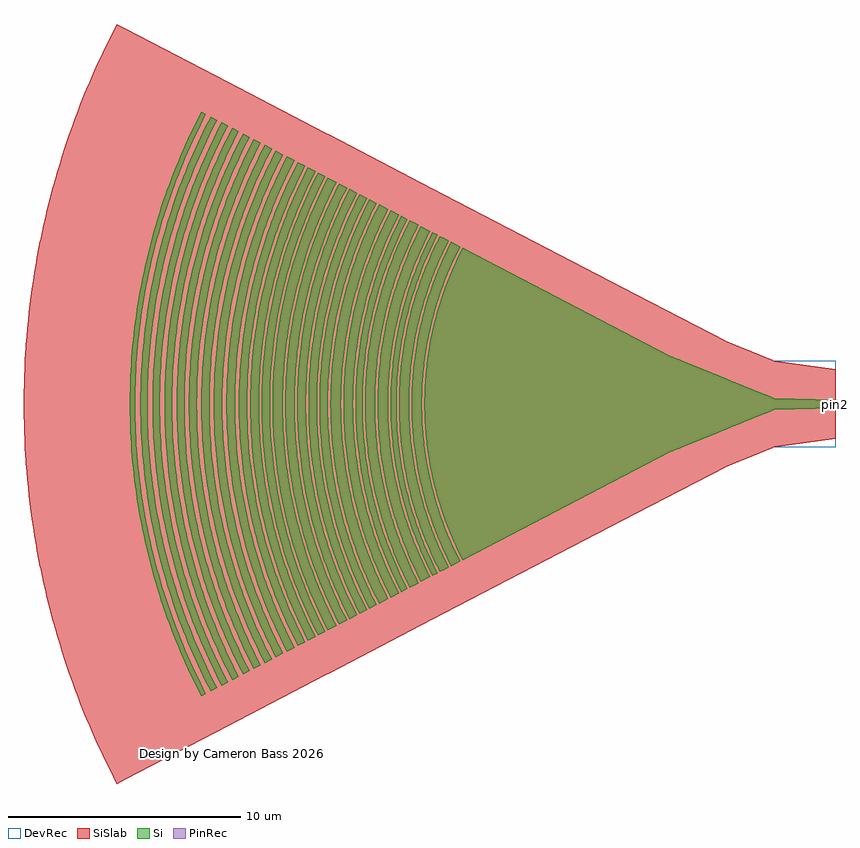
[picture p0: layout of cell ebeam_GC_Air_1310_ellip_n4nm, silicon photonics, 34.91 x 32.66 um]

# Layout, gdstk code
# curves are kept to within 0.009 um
import gdstk
lib = gdstk.Library(unit=1e-6, precision=1e-09)
def P(c, l, *ps):  # polygons
    for p in ps: c.add(gdstk.Polygon(p, *l))
Si = (1, 0)
PinRec = (1, 10)
SiSlab = (2, 0)
DevRec = (68, 0)

ebeam_gc_air_1310_ellip_ = lib.new_cell('ebeam_GC_Air_1310_ellip_n4nm')
P(ebeam_gc_air_1310_ellip_, Si, [(-16.046,-6.71),(-16.406,-5.967),(-16.78,-5.052),(-17.009,-4.383),(-17.274,-3.43),(-17.45,-2.6),(-17.577,-1.762),(-17.655,-0.918),(-17.683,-0.071),(-17.655,0.918),(-17.577,1.762),(-17.45,2.601),(-17.274,3.43),(-17.009,4.383),(-16.78,5.052),(-16.406,5.967),(-16.046,6.71),(-7.153,2.079),(-3.187,0.46),(-2.893,0.352),(-2.693,0.258),(-2.65,0.246),(0,0.175),(0,-0.175),(-2.678,-0.253),(-2.862,-0.339),(-3.202,-0.466),(-7.125,-2.066)],
  [(-16.538,-6.965),(-16.909,-6.197),(-17.246,-5.384),(-17.535,-4.552),(-17.775,-3.705),(-17.966,-2.845),(-18.106,-1.975),(-18.205,-0.954),(-18.235,-0.073),(-18.214,0.807),(-18.124,1.831),(-17.993,2.701),(-17.81,3.562),(-17.701,3.989),(-17.535,4.552),(-17.246,5.384),(-16.909,6.197),(-16.538,6.966),(-16.143,6.76),(-16.505,6.012),(-16.882,5.089),(-17.154,4.28),(-17.379,3.456),(-17.556,2.621),(-17.684,1.775),(-17.771,0.783),(-17.791,0.071),(-17.771,-0.783),(-17.684,-1.775),(-17.556,-2.62),(-17.379,-3.456),(-17.154,-4.28),(-16.882,-5.089),(-16.505,-6.012),(-16.143,-6.76)],
  [(-17.019,-7.216),(-17.403,-6.421),(-17.752,-5.579),(-18.051,-4.717),(-18.3,-3.839),(-18.525,-2.798),(-18.661,-1.897),(-18.745,-0.988),(-18.776,-0.076),(-18.754,0.836),(-18.679,1.746),(-18.622,2.198),(-18.525,2.798),(-18.336,3.691),(-18.182,4.28),(-18.051,4.717),(-17.752,5.579),(-17.403,6.421),(-17.019,7.216),(-16.634,7.016),(-17.068,6.107),(-17.399,5.284),(-17.682,4.443),(-17.916,3.588),(-18.099,2.721),(-18.232,1.843),(-18.313,0.96),(-18.343,0.074),(-18.322,-0.812),(-18.232,-1.843),(-18.099,-2.721),(-17.916,-3.588),(-17.682,-4.443),(-17.399,-5.284),(-17.068,-6.107),(-16.634,-7.016)],
  [(-17.339,-7.383),(-17.732,-6.569),(-18.089,-5.708),(-18.395,-4.826),(-18.65,-3.928),(-18.852,-3.016),(-18.933,-2.556),(-19.02,-1.94),(-19.106,-1.011),(-19.137,-0.078),(-19.115,0.856),(-19.038,1.786),(-18.907,2.71),(-18.822,3.169),(-18.687,3.777),(-18.441,4.677),(-18.144,5.562),(-17.976,5.997),(-17.732,6.57),(-17.339,7.383),(-17.116,7.266),(-17.564,6.326),(-17.959,5.33),(-18.108,4.895),(-18.286,4.309),(-18.405,3.866),(-18.543,3.269),(-18.707,2.365),(-18.803,1.605),(-18.862,0.842),(-18.884,0.077),(-18.862,-0.842),(-18.803,-1.605),(-18.707,-2.365),(-18.543,-3.269),(-18.405,-3.865),(-18.286,-4.309),(-18.108,-4.895),(-17.959,-5.329),(-17.564,-6.326),(-17.116,-7.266)],
  [(-17.835,-7.641),(-18.306,-6.652),(-18.667,-5.757),(-18.975,-4.841),(-19.229,-3.909),(-19.429,-2.963),(-19.573,-2.009),(-19.662,-1.046),(-19.695,-0.08),(-19.671,0.886),(-19.592,1.849),(-19.457,2.805),(-19.336,3.438),(-19.229,3.909),(-18.975,4.841),(-18.667,5.757),(-18.493,6.207),(-18.241,6.8),(-17.835,7.641),(-17.436,7.433),(-17.895,6.472),(-18.19,5.746),(-18.499,4.858),(-18.755,3.955),(-18.987,2.883),(-19.127,1.953),(-19.191,1.33),(-19.223,0.861),(-19.245,0.078),(-19.223,-0.861),(-19.191,-1.33),(-19.127,-1.953),(-18.987,-2.883),(-18.792,-3.802),(-18.545,-4.709),(-18.245,-5.599),(-17.895,-6.472),(-17.436,-7.433)],
  [(-18.315,-7.891),(-18.735,-7.021),(-18.995,-6.409),(-19.174,-5.945),(-19.493,-4.999),(-19.755,-4.036),(-19.961,-3.06),(-20.111,-2.073),(-20.202,-1.081),(-20.236,-0.083),(-20.212,0.915),(-20.13,1.909),(-19.99,2.896),(-19.794,3.875),(-19.631,4.52),(-19.493,4.999),(-19.174,5.945),(-18.995,6.409),(-18.735,7.022),(-18.315,7.891),(-17.933,7.692),(-18.342,6.845),(-18.534,6.399),(-18.77,5.794),(-19.08,4.873),(-19.336,3.935),(-19.537,2.983),(-19.682,2.021),(-19.772,1.053),(-19.805,0.081),(-19.781,-0.891),(-19.701,-1.86),(-19.565,-2.824),(-19.476,-3.302),(-19.336,-3.934),(-19.08,-4.872),(-18.77,-5.794),(-18.534,-6.398),(-18.342,-6.845),(-17.933,-7.692)],
  [(-18.677,-8.079),(-19.107,-7.188),(-19.498,-6.245),(-19.833,-5.28),(-20.025,-4.627),(-20.152,-4.132),(-20.363,-3.133),(-20.516,-2.123),(-20.61,-1.106),(-20.644,-0.085),(-20.62,0.936),(-20.536,1.955),(-20.393,2.965),(-20.265,3.634),(-20.152,4.132),(-20.025,4.627),(-19.833,5.28),(-19.498,6.245),(-19.107,7.188),(-18.677,8.079),(-18.412,7.942),(-18.695,7.371),(-18.902,6.914),(-19.158,6.295),(-19.334,5.825),(-19.497,5.35),(-19.691,4.71),(-19.821,4.225),(-19.972,3.573),(-20.151,2.585),(-20.256,1.754),(-20.321,0.92),(-20.345,0.084),(-20.321,-0.92),(-20.256,-1.754),(-20.151,-2.585),(-20.006,-3.409),(-19.9,-3.899),(-19.736,-4.548),(-19.548,-5.19),(-19.39,-5.667),(-18.969,-6.76),(-18.695,-7.371),(-18.412,-7.941)],
  [(-19.135,-8.318),(-19.578,-7.401),(-19.853,-6.755),(-20.042,-6.266),(-20.377,-5.269),(-20.654,-4.254),(-20.871,-3.225),(-21.029,-2.185),(-21.125,-1.139),(-21.161,-0.088),(-21.151,0.614),(-21.125,1.139),(-21.029,2.185),(-20.871,3.225),(-20.654,4.254),(-20.377,5.269),(-20.042,6.266),(-19.649,7.241),(-19.432,7.719),(-19.135,8.318),(-18.775,8.13),(-19.208,7.234),(-19.411,6.762),(-19.66,6.123),(-19.988,5.149),(-20.259,4.158),(-20.471,3.153),(-20.625,2.136),(-20.719,1.113),(-20.754,0.086),(-20.729,-0.942),(-20.645,-1.966),(-20.501,-2.984),(-20.407,-3.489),(-20.259,-4.158),(-19.988,-5.149),(-19.66,-6.123),(-19.277,-7.077),(-19.065,-7.545),(-18.775,-8.13)],
  [(-19.634,-8.578),(-20.089,-7.634),(-20.504,-6.633),(-20.859,-5.608),(-21.155,-4.564),(-21.389,-3.505),(-21.562,-2.434),(-21.672,-1.355),(-21.703,-0.814),(-21.721,-0.09),(-21.695,0.994),(-21.605,2.076),(-21.454,3.149),(-21.318,3.859),(-21.198,4.389),(-20.913,5.435),(-20.689,6.123),(-20.504,6.633),(-20.089,7.634),(-19.634,8.578),(-19.233,8.369),(-19.531,7.767),(-19.75,7.285),(-20.083,6.468),(-20.263,5.971),(-20.482,5.301),(-20.718,4.451),(-20.946,3.419),(-21.115,2.375),(-21.193,1.673),(-21.234,1.145),(-21.27,0.088),(-21.265,-0.441),(-21.234,-1.145),(-21.137,-2.198),(-20.979,-3.245),(-20.76,-4.28),(-20.482,-5.3),(-20.263,-5.971),(-20.083,-6.468),(-19.75,-7.285),(-19.531,-7.766),(-19.233,-8.369)],
  [(-20.049,-8.794),(-20.517,-7.824),(-20.942,-6.798),(-21.307,-5.747),(-21.61,-4.677),(-21.85,-3.592),(-22.027,-2.494),(-22.14,-1.389),(-22.172,-0.834),(-22.19,-0.093),(-22.163,1.019),(-22.072,2.127),(-22.002,2.678),(-21.884,3.41),(-21.654,4.498),(-21.466,5.215),(-21.307,5.747),(-20.942,6.798),(-20.517,7.824),(-20.049,8.794),(-19.735,8.63),(-19.963,8.174),(-20.267,7.514),(-20.545,6.841),(-20.736,6.33),(-20.968,5.641),(-21.173,4.943),(-21.35,4.238),(-21.466,3.704),(-21.623,2.809),(-21.737,1.906),(-21.808,1),(-21.834,0.091),(-21.824,-0.636),(-21.755,-1.725),(-21.65,-2.629),(-21.466,-3.704),(-21.35,-4.237),(-21.173,-4.943),(-20.968,-5.64),(-20.736,-6.33),(-20.545,-6.84),(-20.267,-7.513),(-19.963,-8.174),(-19.735,-8.63)],
  [(-20.469,-9.013),(-20.95,-8.017),(-21.386,-6.965),(-21.759,-5.889),(-22.07,-4.793),(-22.201,-4.238),(-22.351,-3.494),(-22.521,-2.367),(-22.626,-1.234),(-22.665,-0.095),(-22.637,1.044),(-22.543,2.18),(-22.384,3.307),(-22.28,3.867),(-22.115,4.609),(-21.923,5.343),(-21.759,5.889),(-21.386,6.965),(-20.95,8.017),(-20.469,9.013),(-20.147,8.845),(-20.462,8.208),(-20.767,7.528),(-21.045,6.836),(-21.236,6.31),(-21.411,5.78),(-21.621,5.065),(-21.804,4.342),(-21.922,3.796),(-22.083,2.878),(-22.2,1.953),(-22.272,1.024),(-22.299,0.093),(-22.281,-0.838),(-22.218,-1.768),(-22.11,-2.694),(-21.922,-3.796),(-21.804,-4.342),(-21.621,-5.065),(-21.411,-5.78),(-21.236,-6.31),(-21.045,-6.835),(-20.767,-7.528),(-20.462,-8.208),(-20.147,-8.845)],
  [(-20.904,-9.239),(-21.398,-8.215),(-21.844,-7.138),(-22.227,-6.035),(-22.546,-4.912),(-22.68,-4.343),(-22.834,-3.58),(-23.009,-2.426),(-23.116,-1.264),(-23.155,-0.097),(-23.15,0.487),(-23.116,1.264),(-23.009,2.426),(-22.834,3.581),(-22.592,4.723),(-22.285,5.849),(-21.913,6.956),(-21.477,8.038),(-21.235,8.569),(-20.904,9.239),(-20.571,9.065),(-20.896,8.409),(-21.208,7.712),(-21.493,7.003),(-21.689,6.465),(-21.869,5.921),(-22.084,5.189),(-22.227,4.634),(-22.392,3.889),(-22.557,2.949),(-22.677,2.001),(-22.751,1.05),(-22.779,0.096),(-22.76,-0.859),(-22.696,-1.811),(-22.585,-2.76),(-22.392,-3.889),(-22.227,-4.634),(-22.084,-5.189),(-21.869,-5.921),(-21.689,-6.465),(-21.493,-7.003),(-21.208,-7.712),(-20.896,-8.409),(-20.571,-9.065)],
  [(-21.355,-9.474),(-21.695,-8.788),(-21.942,-8.242),(-22.389,-7.133),(-22.771,-5.998),(-23.086,-4.843),(-23.334,-3.672),(-23.513,-2.488),(-23.623,-1.296),(-23.663,-0.1),(-23.658,0.499),(-23.623,1.297),(-23.513,2.489),(-23.334,3.672),(-23.086,4.843),(-22.771,5.998),(-22.389,7.133),(-22.174,7.691),(-21.942,8.243),(-21.695,8.788),(-21.355,9.474),(-21.001,9.289),(-21.25,8.793),(-21.577,8.082),(-21.804,7.54),(-22.082,6.809),(-22.332,6.067),(-22.5,5.505),(-22.698,4.748),(-22.868,3.985),(-23.037,3.022),(-23.16,2.05),(-23.236,1.075),(-23.264,0.098),(-23.245,-0.88),(-23.179,-1.856),(-23.066,-2.828),(-22.868,-3.984),(-22.698,-4.748),(-22.5,-5.505),(-22.332,-6.067),(-22.082,-6.809),(-21.804,-7.54),(-21.577,-8.082),(-21.334,-8.616),(-21.001,-9.289)],
  [(-21.843,-9.727),(-22.102,-9.21),(-22.444,-8.465),(-22.682,-7.898),(-22.903,-7.325),(-23.108,-6.746),(-23.295,-6.16),(-23.466,-5.569),(-23.619,-4.974),(-23.755,-4.374),(-23.873,-3.771),(-23.974,-3.164),(-24.057,-2.555),(-24.17,-1.331),(-24.2,-0.717),(-24.211,-0.102),(-24.182,1.127),(-24.081,2.353),(-23.974,3.164),(-23.873,3.771),(-23.755,4.374),(-23.619,4.974),(-23.466,5.57),(-23.295,6.16),(-23.108,6.746),(-22.903,7.326),(-22.682,7.899),(-22.444,8.465),(-22.102,9.21),(-21.843,9.728),(-21.452,9.524),(-21.961,8.47),(-22.421,7.358),(-22.816,6.221),(-23.144,5.064),(-23.283,4.478),(-23.404,3.889),(-23.596,2.701),(-23.718,1.503),(-23.753,0.902),(-23.772,0.1),(-23.743,-1.103),(-23.685,-1.903),(-23.621,-2.501),(-23.441,-3.692),(-23.192,-4.869),(-22.875,-6.03),(-22.492,-7.17),(-22.042,-8.287),(-21.794,-8.835),(-21.452,-9.524)],
  [(-22.257,-9.943),(-22.787,-8.843),(-23.036,-8.266),(-23.268,-7.683),(-23.482,-7.093),(-23.742,-6.296),(-24.073,-5.084),(-24.332,-3.854),(-24.435,-3.234),(-24.52,-2.612),(-24.587,-1.987),(-24.636,-1.361),(-24.678,-0.105),(-24.672,0.524),(-24.648,1.152),(-24.545,2.404),(-24.466,3.027),(-24.369,3.648),(-24.254,4.266),(-24.073,5.084),(-23.742,6.296),(-23.55,6.895),(-23.268,7.683),(-23.036,8.267),(-22.787,8.844),(-22.257,9.943),(-21.94,9.778),(-22.289,9.072),(-22.544,8.51),(-22.783,7.94),(-23.076,7.169),(-23.276,6.585),(-23.515,5.797),(-23.675,5.2),(-23.861,4.397),(-23.98,3.791),(-24.081,3.181),(-24.21,2.159),(-24.29,1.132),(-24.32,0.103),(-24.314,-0.515),(-24.29,-1.132),(-24.21,-2.159),(-24.081,-3.181),(-23.98,-3.791),(-23.861,-4.397),(-23.675,-5.2),(-23.515,-5.796),(-23.276,-6.584),(-23.076,-7.169),(-22.783,-7.939),(-22.544,-8.509),(-22.289,-9.072),(-21.94,-9.778)],
  [(-22.691,-10.169),(-22.964,-9.625),(-23.235,-9.042),(-23.49,-8.452),(-23.727,-7.856),(-23.946,-7.252),(-24.148,-6.642),(-24.39,-5.82),(-24.55,-5.198),(-24.692,-4.571),(-24.815,-3.941),(-24.921,-3.307),(-25.008,-2.67),(-25.076,-2.032),(-25.126,-1.391),(-25.157,-0.75),(-25.169,-0.107),(-25.163,0.536),(-25.138,1.178),(-25.095,1.819),(-25.033,2.458),(-24.952,3.095),(-24.853,3.73),(-24.692,4.571),(-24.55,5.198),(-24.39,5.82),(-24.211,6.438),(-24.015,7.05),(-23.802,7.656),(-23.571,8.254),(-23.322,8.847),(-22.964,9.625),(-22.691,10.169),(-22.357,9.995),(-22.715,9.272),(-22.976,8.697),(-23.22,8.115),(-23.519,7.327),(-23.788,6.529),(-23.968,5.924),(-24.132,5.314),(-24.322,4.494),(-24.514,3.46),(-24.657,2.416),(-24.748,1.367),(-24.779,0.737),(-24.791,0.105),(-24.771,-0.947),(-24.734,-1.577),(-24.679,-2.206),(-24.547,-3.251),(-24.322,-4.494),(-24.132,-5.314),(-23.968,-5.924),(-23.788,-6.529),(-23.519,-7.327),(-23.298,-7.918),(-22.976,-8.697),(-22.715,-9.272),(-22.357,-9.995)],
  [(-23.123,-10.394),(-23.405,-9.832),(-23.682,-9.237),(-23.942,-8.634),(-24.185,-8.025),(-24.409,-7.408),(-24.616,-6.785),(-24.804,-6.156),(-24.974,-5.522),(-25.125,-4.884),(-25.258,-4.241),(-25.372,-3.594),(-25.467,-2.945),(-25.543,-2.294),(-25.615,-1.421),(-25.647,-0.766),(-25.659,-0.109),(-25.653,0.547),(-25.628,1.203),(-25.583,1.858),(-25.52,2.511),(-25.437,3.162),(-25.298,4.026),(-25.171,4.67),(-25.026,5.31),(-24.862,5.946),(-24.68,6.576),(-24.48,7.202),(-24.262,7.821),(-24.025,8.432),(-23.771,9.037),(-23.5,9.635),(-23.123,10.394),(-22.805,10.229),(-23.173,9.484),(-23.526,8.699),(-23.77,8.1),(-23.996,7.495),(-24.271,6.679),(-24.456,6.06),(-24.675,5.227),(-24.818,4.597),(-25.015,3.539),(-25.108,2.9),(-25.183,2.257),(-25.266,1.184),(-25.298,0.108),(-25.277,-0.969),(-25.183,-2.257),(-25.108,-2.899),(-25.015,-3.539),(-24.818,-4.597),(-24.675,-5.227),(-24.456,-6.06),(-24.271,-6.679),(-23.996,-7.495),(-23.77,-8.1),(-23.44,-8.896),(-23.173,-9.484),(-22.805,-10.228)],
  [(-23.592,-10.639),(-23.884,-10.057),(-24.168,-9.449),(-24.434,-8.832),(-24.682,-8.209),(-24.912,-7.578),(-25.123,-6.941),(-25.316,-6.297),(-25.49,-5.649),(-25.645,-4.995),(-25.78,-4.338),(-25.932,-3.455),(-26.023,-2.79),(-26.094,-2.123),(-26.146,-1.454),(-26.179,-0.783),(-26.192,-0.112),(-26.185,0.56),(-26.159,1.231),(-26.114,1.901),(-26.049,2.569),(-25.964,3.234),(-25.86,3.898),(-25.692,4.777),(-25.543,5.432),(-25.376,6.082),(-25.189,6.727),(-24.984,7.367),(-24.761,8),(-24.519,8.625),(-24.259,9.244),(-23.981,9.856),(-23.592,10.639),(-23.263,10.467),(-23.643,9.7),(-23.916,9.099),(-24.172,8.489),(-24.485,7.666),(-24.699,7.041),(-24.956,6.198),(-25.18,5.346),(-25.326,4.702),(-25.528,3.619),(-25.677,2.527),(-25.74,1.87),(-25.785,1.211),(-25.817,0.11),(-25.796,-0.991),(-25.758,-1.65),(-25.7,-2.308),(-25.562,-3.402),(-25.453,-4.053),(-25.326,-4.702),(-25.18,-5.346),(-24.956,-6.198),(-24.699,-7.04),(-24.485,-7.665),(-24.172,-8.489),(-23.916,-9.099),(-23.643,-9.7),(-23.263,-10.467)],
  [(-24.075,-10.89),(-24.377,-10.289),(-24.667,-9.666),(-24.94,-9.035),(-25.194,-8.398),(-25.429,-7.753),(-25.713,-6.882),(-25.904,-6.222),(-26.075,-5.557),(-26.227,-4.887),(-26.36,-4.213),(-26.473,-3.535),(-26.566,-2.854),(-26.639,-2.172),(-26.692,-1.487),(-26.726,-0.801),(-26.739,-0.114),(-26.732,0.573),(-26.706,1.259),(-26.659,1.944),(-26.566,2.855),(-26.473,3.535),(-26.36,4.213),(-26.227,4.887),(-26.075,5.557),(-25.904,6.222),(-25.713,6.882),(-25.429,7.753),(-25.194,8.398),(-24.94,9.036),(-24.667,9.666),(-24.377,10.289),(-24.075,10.89),(-23.751,10.721),(-24.143,9.93),(-24.423,9.314),(-24.769,8.48),(-25.006,7.847),(-25.294,6.992),(-25.488,6.344),(-25.718,5.472),(-25.867,4.813),(-26.074,3.705),(-26.227,2.587),(-26.325,1.464),(-26.358,0.789),(-26.371,0.113),(-26.349,-1.014),(-26.309,-1.689),(-26.251,-2.363),(-26.109,-3.482),(-25.998,-4.149),(-25.867,-4.813),(-25.718,-5.472),(-25.488,-6.344),(-25.294,-6.992),(-25.006,-7.847),(-24.769,-8.48),(-24.423,-9.314),(-24.046,-10.133),(-23.751,-10.721)],
  [(-24.545,-11.135),(-24.856,-10.517),(-25.153,-9.88),(-25.432,-9.235),(-25.691,-8.584),(-25.932,-7.924),(-26.153,-7.258),(-26.417,-6.36),(-26.593,-5.68),(-26.748,-4.995),(-26.884,-4.306),(-26.999,-3.613),(-27.094,-2.919),(-27.169,-2.22),(-27.224,-1.52),(-27.258,-0.819),(-27.271,-0.117),(-27.258,0.819),(-27.224,1.521),(-27.169,2.221),(-27.094,2.919),(-26.999,3.613),(-26.884,4.306),(-26.748,4.995),(-26.593,5.68),(-26.417,6.36),(-26.153,7.258),(-25.932,7.924),(-25.691,8.584),(-25.432,9.236),(-25.153,9.88),(-24.856,10.517),(-24.545,11.135),(-24.232,10.972),(-24.637,10.157),(-24.924,9.527),(-25.277,8.674),(-25.52,8.026),(-25.815,7.152),(-26.013,6.49),(-26.193,5.821),(-26.401,4.923),(-26.613,3.79),(-26.769,2.646),(-26.87,1.498),(-26.903,0.807),(-26.916,0.115),(-26.91,-0.576),(-26.883,-1.268),(-26.793,-2.417),(-26.713,-3.105),(-26.613,-3.79),(-26.401,-4.923),(-26.193,-5.821),(-26.013,-6.489),(-25.815,-7.152),(-25.52,-8.026),(-25.277,-8.674),(-24.924,-9.527),(-24.637,-10.157),(-24.232,-10.972)],
  [(-25.018,-11.381),(-25.337,-10.747),(-25.641,-10.097),(-25.925,-9.438),(-26.191,-8.772),(-26.436,-8.098),(-26.662,-7.417),(-26.869,-6.729),(-27.055,-6.036),(-27.22,-5.338),(-27.366,-4.635),(-27.49,-3.929),(-27.595,-3.219),(-27.678,-2.507),(-27.741,-1.792),(-27.792,-0.837),(-27.806,-0.12),(-27.799,0.598),(-27.771,1.315),(-27.722,2.031),(-27.653,2.745),(-27.562,3.456),(-27.41,4.4),(-27.271,5.105),(-27.112,5.804),(-26.933,6.499),(-26.733,7.189),(-26.514,7.872),(-26.191,8.772),(-25.925,9.438),(-25.641,10.097),(-25.337,10.747),(-25.018,11.381),(-24.712,11.222),(-25.128,10.385),(-25.421,9.741),(-25.695,9.089),(-26.031,8.207),(-26.26,7.538),(-26.535,6.636),(-26.719,5.952),(-26.932,5.034),(-27.148,3.875),(-27.308,2.706),(-27.377,2.002),(-27.425,1.296),(-27.459,0.118),(-27.452,-0.589),(-27.425,-1.296),(-27.333,-2.471),(-27.185,-3.642),(-27.069,-4.34),(-26.932,-5.034),(-26.719,-5.952),(-26.535,-6.635),(-26.26,-7.538),(-26.031,-8.207),(-25.695,-9.088),(-25.421,-9.741),(-25.026,-10.598),(-24.712,-11.221)],
  [(-25.48,-11.621),(-25.806,-10.973),(-26.116,-10.309),(-26.406,-9.636),(-26.677,-8.956),(-26.928,-8.268),(-27.159,-7.573),(-27.37,-6.871),(-27.56,-6.163),(-27.781,-5.212),(-27.922,-4.493),(-28.043,-3.77),(-28.142,-3.044),(-28.22,-2.317),(-28.277,-1.586),(-28.312,-0.855),(-28.327,-0.122),(-28.312,0.855),(-28.277,1.586),(-28.22,2.317),(-28.142,3.044),(-28.043,3.77),(-27.922,4.493),(-27.781,5.212),(-27.618,5.926),(-27.435,6.636),(-27.232,7.339),(-27.008,8.037),(-26.763,8.728),(-26.499,9.41),(-26.215,10.086),(-25.806,10.973),(-25.48,11.621),(-25.186,11.468),(-25.612,10.612),(-25.911,9.954),(-26.281,9.063),(-26.535,8.386),(-26.843,7.473),(-27.05,6.781),(-27.238,6.082),(-27.405,5.379),(-27.551,4.671),(-27.677,3.96),(-27.84,2.765),(-27.91,2.046),(-27.959,1.325),(-27.994,0.121),(-27.971,-1.084),(-27.929,-1.805),(-27.866,-2.525),(-27.782,-3.244),(-27.677,-3.959),(-27.456,-5.143),(-27.238,-6.082),(-27.05,-6.78),(-26.843,-7.473),(-26.535,-8.386),(-26.281,-9.063),(-25.911,-9.954),(-25.612,-10.612),(-25.186,-11.468)],
  [(-25.945,-11.863),(-26.278,-11.201),(-26.595,-10.523),(-26.891,-9.837),(-27.168,-9.143),(-27.424,-8.44),(-27.66,-7.73),(-27.875,-7.014),(-28.069,-6.291),(-28.294,-5.32),(-28.439,-4.586),(-28.561,-3.848),(-28.663,-3.107),(-28.743,-2.365),(-28.801,-1.619),(-28.837,-0.872),(-28.851,-0.125),(-28.844,0.623),(-28.815,1.371),(-28.764,2.117),(-28.692,2.861),(-28.598,3.602),(-28.439,4.586),(-28.294,5.32),(-28.128,6.049),(-27.942,6.774),(-27.734,7.492),(-27.505,8.204),(-27.256,8.909),(-26.986,9.606),(-26.595,10.523),(-26.278,11.201),(-25.945,11.864),(-25.656,11.713),(-25.985,11.06),(-26.397,10.166),(-26.683,9.485),(-27.034,8.564),(-27.273,7.866),(-27.561,6.925),(-27.752,6.212),(-27.975,5.253),(-28.2,4.044),(-28.367,2.824),(-28.439,2.089),(-28.489,1.353),(-28.525,0.123),(-28.517,-0.615),(-28.489,-1.353),(-28.393,-2.579),(-28.238,-3.8),(-28.117,-4.528),(-27.975,-5.253),(-27.811,-5.973),(-27.561,-6.924),(-27.273,-7.866),(-27.034,-8.564),(-26.683,-9.484),(-26.397,-10.165),(-25.985,-11.059),(-25.656,-11.713)],
  [(-26.404,-12.102),(-26.744,-11.426),(-27.067,-10.735),(-27.369,-10.034),(-27.651,-9.326),(-27.913,-8.609),(-28.153,-7.885),(-28.372,-7.154),(-28.57,-6.418),(-28.746,-5.675),(-28.901,-4.928),(-29.034,-4.177),(-29.144,-3.422),(-29.233,-2.665),(-29.3,-1.905),(-29.354,-0.89),(-29.369,-0.127),(-29.361,0.636),(-29.332,1.398),(-29.28,2.159),(-29.206,2.919),(-29.11,3.674),(-28.948,4.678),(-28.8,5.427),(-28.631,6.171),(-28.441,6.91),(-28.229,7.643),(-27.995,8.369),(-27.741,9.088),(-27.466,9.799),(-27.067,10.735),(-26.744,11.426),(-26.404,12.102),(-26.125,11.957),(-26.461,11.29),(-26.78,10.607),(-27.079,9.915),(-27.446,8.979),(-27.697,8.268),(-28,7.31),(-28.265,6.341),(-28.439,5.608),(-28.592,4.87),(-28.723,4.128),(-28.893,2.883),(-29.003,1.632),(-29.039,0.879),(-29.054,0.126),(-29.046,-0.628),(-29.017,-1.381),(-28.92,-2.633),(-28.832,-3.382),(-28.723,-4.128),(-28.592,-4.87),(-28.439,-5.608),(-28.265,-6.341),(-28,-7.31),(-27.697,-8.268),(-27.446,-8.978),(-27.174,-9.681),(-26.882,-10.377),(-26.57,-11.063),(-26.125,-11.957)],
  [(-26.874,-12.347),(-27.326,-11.437),(-27.648,-10.728),(-27.95,-10.009),(-28.231,-9.283),(-28.49,-8.549),(-28.728,-7.807),(-28.944,-7.058),(-29.139,-6.303),(-29.311,-5.543),(-29.461,-4.779),(-29.589,-4.01),(-29.695,-3.238),(-29.777,-2.464),(-29.838,-1.687),(-29.876,-0.909),(-29.891,-0.13),(-29.876,0.909),(-29.838,1.687),(-29.777,2.464),(-29.695,3.238),(-29.589,4.01),(-29.461,4.779),(-29.311,5.544),(-29.139,6.303),(-28.944,7.058),(-28.728,7.807),(-28.49,8.549),(-28.231,9.284),(-27.95,10.01),(-27.648,10.728),(-27.326,11.437),(-26.874,12.348),(-26.592,12.201),(-27.046,11.288),(-27.365,10.588),(-27.758,9.64),(-28.028,8.92),(-28.277,8.193),(-28.505,7.458),(-28.712,6.718),(-28.953,5.722),(-29.201,4.464),(-29.32,3.705),(-29.417,2.941),(-29.491,2.176),(-29.543,1.409),(-29.581,0.128),(-29.556,-1.153),(-29.511,-1.92),(-29.444,-2.686),(-29.283,-3.958),(-29.156,-4.717),(-29.008,-5.471),(-28.776,-6.469),(-28.576,-7.212),(-28.356,-7.949),(-28.028,-8.92),(-27.758,-9.64),(-27.365,-10.588),(-27.046,-11.288),(-26.592,-12.2)],
  [(-27.272,-12.555),(-27.625,-11.851),(-27.96,-11.134),(-28.273,-10.408),(-28.565,-9.673),(-28.822,-8.971),(-29.085,-8.179),(-29.312,-7.421),(-29.517,-6.657),(-29.699,-5.887),(-29.859,-5.112),(-29.997,-4.332),(-30.112,-3.55),(-30.229,-2.502),(-30.285,-1.794),(-30.329,-0.923),(-30.344,-0.132),(-30.336,0.659),(-30.306,1.45),(-30.252,2.24),(-30.145,3.289),(-30.038,4.072),(-29.908,4.853),(-29.755,5.629),(-29.58,6.401),(-29.383,7.167),(-29.163,7.927),(-28.922,8.681),(-28.658,9.427),(-28.373,10.164),(-27.96,11.135),(-27.625,11.852),(-27.272,12.555),(-27.071,12.45),(-27.413,11.768),(-27.745,11.057),(-28.155,10.093),(-28.438,9.359),(-28.7,8.619),(-28.94,7.871),(-29.226,6.863),(-29.414,6.101),(-29.679,4.819),(-29.808,4.044),(-29.914,3.265),(-29.998,2.484),(-30.059,1.701),(-30.097,0.916),(-30.112,0.131),(-30.087,-1.178),(-30.041,-1.962),(-29.972,-2.744),(-29.881,-3.525),(-29.767,-4.303),(-29.631,-5.076),(-29.472,-5.845),(-29.291,-6.61),(-29.088,-7.368),(-28.862,-8.121),(-28.528,-9.113),(-28.252,-9.849),(-27.851,-10.817),(-27.526,-11.532),(-27.071,-12.45)])
P(ebeam_gc_air_1310_ellip_, SiSlab, [(-30.904,-16.329),(-31.366,-15.41),(-31.801,-14.477),(-32.208,-13.533),(-32.588,-12.577),(-32.94,-11.61),(-33.264,-10.634),(-33.559,-9.648),(-33.825,-8.655),(-34.062,-7.654),(-34.27,-6.647),(-34.449,-5.634),(-34.598,-4.616),(-34.717,-3.594),(-34.807,-2.569),(-34.867,-1.543),(-34.9,-0.171),(-34.89,0.857),(-34.85,1.885),(-34.781,2.912),(-34.681,3.935),(-34.552,4.956),(-34.393,5.972),(-34.135,7.319),(-33.907,8.322),(-33.651,9.318),(-33.365,10.307),(-33.051,11.286),(-32.709,12.256),(-32.338,13.216),(-31.94,14.164),(-31.366,15.41),(-30.904,16.329),(-4.744,2.708),(-2.65,1.855),(0,1.5),(0,-1.5),(-2.65,-1.855),(-4.728,-2.7)])
P(ebeam_gc_air_1310_ellip_, DevRec, [(-30.904,-16.329),(-31.366,-15.41),(-31.801,-14.477),(-32.208,-13.533),(-32.588,-12.577),(-32.94,-11.61),(-33.264,-10.634),(-33.559,-9.648),(-33.825,-8.655),(-34.062,-7.654),(-34.27,-6.647),(-34.449,-5.634),(-34.598,-4.616),(-34.717,-3.594),(-34.807,-2.569),(-34.867,-1.543),(-34.9,-0.171),(-34.89,0.857),(-34.85,1.885),(-34.781,2.912),(-34.681,3.935),(-34.552,4.956),(-34.393,5.972),(-34.135,7.319),(-33.907,8.322),(-33.651,9.318),(-33.365,10.307),(-33.051,11.286),(-32.709,12.256),(-32.338,13.216),(-31.94,14.164),(-31.366,15.41),(-30.904,16.329),(-4.744,2.708),(-2.65,1.855),(0,1.855),(0,-1.855),(-2.65,-1.855),(-4.728,-2.7)])
ebeam_gc_air_1310_ellip_.add(gdstk.FlexPath([(-0.01,0),(0.01,0)], 0.35, ends="flush", simple_path=True, layer=1, datatype=10))  # PinRec
ebeam_gc_air_1310_ellip_.add(gdstk.Label('pin2', (0,0), layer=1, texttype=10))
ebeam_gc_air_1310_ellip_.add(gdstk.Label('Design by Cameron Bass 2026', (-25.94,-15.02), layer=10, texttype=0))

lib.write_gds('ebeam_GC_Air_1310_ellip_n4nm.gds')
